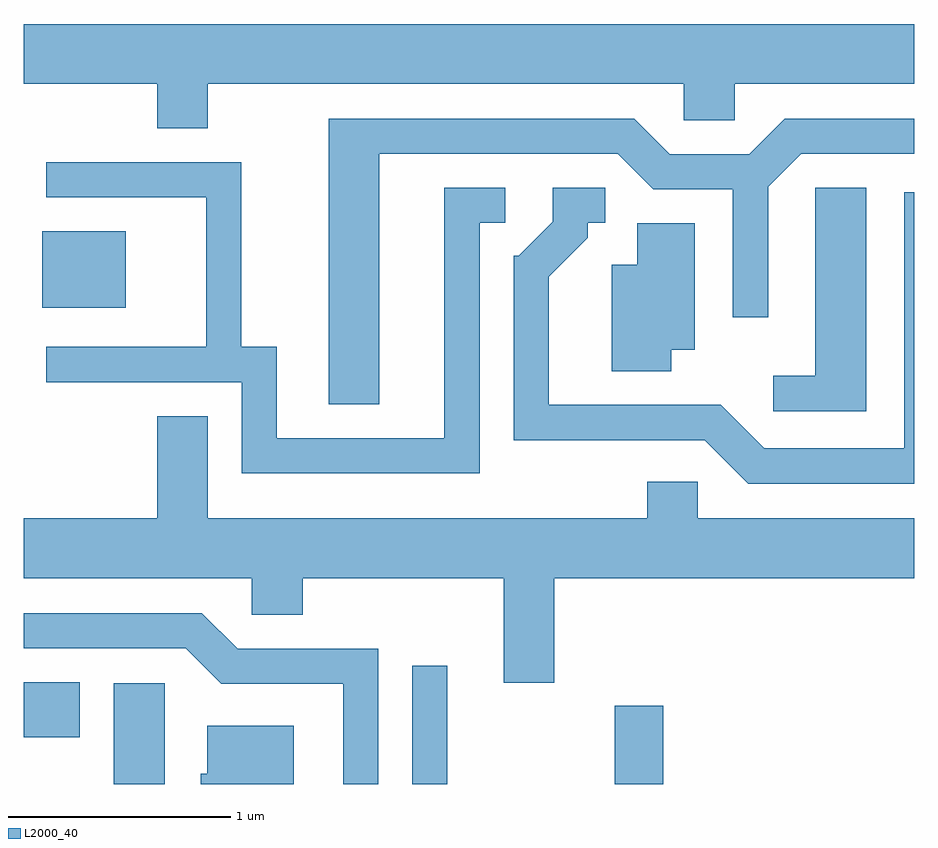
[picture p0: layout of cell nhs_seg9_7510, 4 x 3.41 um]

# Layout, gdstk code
import gdstk
lib = gdstk.Library(unit=1e-6, precision=1e-09)
def R(c, l, rs):  # rectangles x0, y0, x1, y1
    for r in rs: c.add(gdstk.rectangle(r[:2], r[2:], *l))
def P(c, l, *ps):  # polygons
    for p in ps: c.add(gdstk.Polygon(p, *l))
L2000_40 = (2000, 40)

nhs_seg9_7510 = lib.new_cell('nhs_seg9_7510')
R(nhs_seg9_7510, L2000_40, [(408.016,2006.432,408.244,2006.884), (409.356,2006.432,409.514,2006.963), (410.266,2006.432,410.484,2006.784), (407.611,2006.641,407.864,2006.889), (407.696,2008.571,408.069,2008.914)])
P(nhs_seg9_7510, L2000_40, [(408.439,2009.576),(410.576,2009.576),(410.576,2009.411),(410.804,2009.411),(410.804,2009.576),(411.611,2009.576),(411.611,2009.844),(407.611,2009.844),(407.611,2009.576),(408.211,2009.576),(408.211,2009.376),(408.439,2009.376)],
  [(409.209,2009.261),(410.279,2009.261),(410.439,2009.101),(410.796,2009.101),(410.796,2008.528),(410.954,2008.528),(410.954,2009.114),(411.102,2009.261),(411.611,2009.261),(411.611,2009.419),(411.029,2009.419),(410.869,2009.259),(410.512,2009.259),(410.352,2009.419),(408.981,2009.419),(408.981,2008.136),(409.209,2008.136)],
  [(409.659,2008.951),(409.773,2008.951),(409.773,2009.109),(409.501,2009.109),(409.501,2007.984),(408.749,2007.984),(408.749,2008.394),(408.589,2008.394),(408.589,2009.224),(407.713,2009.224),(407.713,2009.066),(408.431,2009.066),(408.431,2008.394),(407.713,2008.394),(407.713,2008.236),(408.591,2008.236),(408.591,2007.826),(409.659,2007.826)],
  [(411.611,2009.089),(411.566,2009.089),(411.566,2007.939),(410.937,2007.939),(410.742,2008.134),(409.969,2008.134),(409.969,2008.709),(410.144,2008.884),(410.144,2008.951),(410.223,2008.951),(410.223,2009.109),(409.986,2009.109),(409.986,2008.957),(409.834,2008.804),(409.811,2008.804),(409.811,2007.976),(410.669,2007.976),(410.864,2007.781),(411.611,2007.781)],
  [(411.394,2009.109),(411.166,2009.109),(411.166,2008.264),(410.978,2008.264),(410.978,2008.106),(411.394,2008.106)],
  [(410.519,2008.381),(410.624,2008.381),(410.624,2008.949),(410.366,2008.949),(410.366,2008.764),(410.251,2008.764),(410.251,2008.286),(410.519,2008.286)],
  [(409.994,2007.356),(411.611,2007.356),(411.611,2007.624),(410.639,2007.624),(410.639,2007.789),(410.411,2007.789),(410.411,2007.624),(408.439,2007.624),(408.439,2008.084),(408.211,2008.084),(408.211,2007.624),(407.611,2007.624),(407.611,2007.356),(408.636,2007.356),(408.636,2007.191),(408.864,2007.191),(408.864,2007.356),(409.766,2007.356),(409.766,2006.886),(409.994,2006.886)],
  [(409.204,2007.039),(408.572,2007.039),(408.412,2007.199),(407.611,2007.199),(407.611,2007.041),(408.339,2007.041),(408.499,2006.881),(409.046,2006.881),(409.046,2006.432),(409.204,2006.432)],
  [(408.824,2006.694),(408.436,2006.694),(408.436,2006.479),(408.406,2006.479),(408.406,2006.432),(408.824,2006.432)])

lib.write_gds('nhs_seg9_7510.gds')
